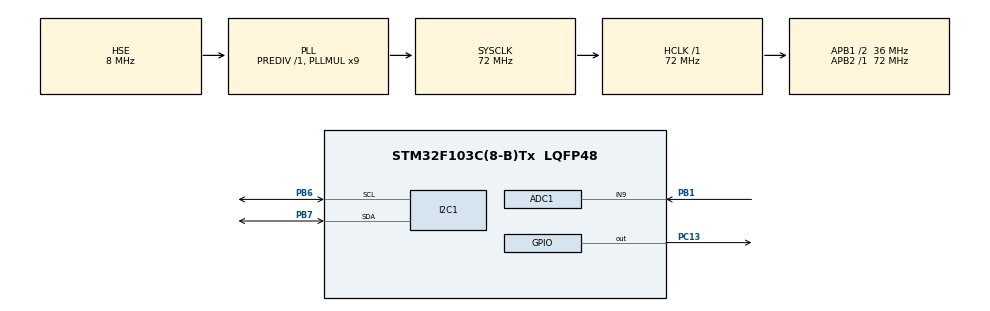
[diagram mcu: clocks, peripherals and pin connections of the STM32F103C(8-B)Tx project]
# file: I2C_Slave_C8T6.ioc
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ADC1.Channel-0\#ChannelRegularConversion=ADC_CHANNEL_9
ADC1.ContinuousConvMode=ENABLE
ADC1.NbrOfConversionFlag=1
ADC1.Rank-0\#ChannelRegularConversion=1
ADC1.SamplingTime-0\#ChannelRegularConversion=ADC_SAMPLETIME_1CYCLE_5
ADC1.master=1
I2C1.OwnAddress=0x12
Mcu.Family=STM32F1
Mcu.Name=STM32F103C(8-B)Tx
Mcu.Package=LQFP48
NVIC.I2C1_ER_IRQn=true\:0\:0\:false\:false\:true\:true\:true\:true
NVIC.I2C1_EV_IRQn=true\:0\:0\:false\:false\:true\:true\:true\:true
NVIC.PriorityGroup=NVIC_PRIORITYGROUP_4
PA13.Mode=Serial_Wire
PA13.Signal=SYS_JTMS-SWDIO
PA14.Mode=Serial_Wire
PA14.Signal=SYS_JTCK-SWCLK
PB1.Signal=ADCx_IN9
PB6.Mode=I2C
PB6.Signal=I2C1_SCL
PB7.Mode=I2C
PB7.Signal=I2C1_SDA
PC13-TAMPER-RTC.Signal=GPIO_Output
PD0-OSC_IN.Mode=HSE-External-Oscillator
PD0-OSC_IN.Signal=RCC_OSC_IN
PD1-OSC_OUT.Mode=HSE-External-Oscillator
PD1-OSC_OUT.Signal=RCC_OSC_OUT
ProjectManager.HeapSize=0x200
ProjectManager.StackSize=0x400
ProjectManager.TargetToolchain=STM32CubeIDE
RCC.ADCPresc=RCC_ADCPCLK2_DIV8
RCC.AHBFreq_Value=72000000
RCC.APB1CLKDivider=RCC_HCLK_DIV2
RCC.APB1Freq_Value=36000000
RCC.APB1TimFreq_Value=72000000
RCC.APB2Freq_Value=72000000
RCC.APB2TimFreq_Value=72000000
RCC.HCLKFreq_Value=72000000
RCC.PLLMUL=RCC_PLL_MUL9
RCC.PLLSourceVirtual=RCC_PLLSOURCE_HSE
RCC.SYSCLKFreq_VALUE=72000000
RCC.SYSCLKSource=RCC_SYSCLKSOURCE_PLLCLK
RCC.USBFreq_Value=72000000
SH.ADCx_IN9.0=ADC1_IN9,IN9
board=custom

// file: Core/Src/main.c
/* USER CODE BEGIN Header */
/**
  ******************************************************************************
  * @file           : main.c
  * @brief          : Main program body
  ******************************************************************************
  * @attention
  *
  * Copyright (c) 2025 STMicroelectronics.
  * All rights reserved.
  *
  * This software is licensed under terms that can be found in the LICENSE file
  * in the root directory of this software component.
  * If no LICENSE file comes with this software, it is provided AS-IS.
  *
  ******************************************************************************
  */
/* USER CODE END Header */
#include "main.h"

/* USER CODE BEGIN Includes */
#include "i2c_slave.h"
/* USER CODE END Includes */

ADC_HandleTypeDef hadc1;

I2C_HandleTypeDef hi2c1;

/* USER CODE BEGIN PV */
uint8_t i2c_rcv = 255;          // Data received from I2C master
uint32_t time_start = 0;        // Start time for blinking
uint8_t stat_LED = 0;           // LED state: 1 = ON, 0 = OFF
uint8_t value_pot = 0;          // Scaled potentiometer value (0-255)
volatile uint8_t i2c_rx_data = 0; // Buffer for received I2C data
volatile uint8_t i2c_tx_data = 0; // Buffer for transmitted I2C data

/* USER CODE END PV */

void SystemClock_Config(void);
static void MX_GPIO_Init(void);
static void MX_I2C1_Init(void);
static void MX_ADC1_Init(void);

/* USER CODE BEGIN 0 */
uint8_t ScaleADCToByte(uint16_t adc_value) {
      return (uint8_t)((adc_value * 255) / 4095);
  }

/* USER CODE END 0 */

int main(void)
{

  /* MCU Configuration--------------------------------------------------------*/

  /* Reset of all peripherals, Initializes the Flash interface and the Systick. */
  HAL_Init();

  /* Configure the system clock */
  SystemClock_Config();

  /* Initialize all configured peripherals */
  MX_GPIO_Init();
  MX_I2C1_Init();
  MX_ADC1_Init();
  /* USER CODE BEGIN 2 */
  if (HAL_I2C_EnableListen_IT(&hi2c1) != HAL_OK)
  {
	  Error_Handler();
  }

  HAL_ADC_Start(&hadc1);
  time_start = HAL_GetTick();

  /* USER CODE END 2 */

  /* Infinite loop */
  /* USER CODE BEGIN WHILE */
  while (1)
  {
	    // Read potentiometer via ADC
	    if (HAL_ADC_PollForConversion(&hadc1, 10) == HAL_OK) {
	        uint16_t adc_value = HAL_ADC_GetValue(&hadc1);
	        value_pot = ScaleADCToByte(adc_value);
	        i2c_tx_data = value_pot; // Update transmit buffer
	        I2C_REGISTERS[3] = i2c_tx_data;
	    }

	    // Blink LED based on received value
	    i2c_rcv = I2C_REGISTERS[4];
	    float interval = (i2c_rcv == 0) ? 100 : (1000 * ((float)i2c_rcv / 255.0));
	    if ((HAL_GetTick() - time_start) > interval) {
	        stat_LED = !stat_LED;
	        HAL_GPIO_WritePin(GPIOC, GPIO_PIN_13, stat_LED ? GPIO_PIN_RESET : GPIO_PIN_SET); // PC13 active-low
	        time_start = HAL_GetTick();
	    }

    /* USER CODE END WHILE */

  }
}

void SystemClock_Config(void)
{
  RCC_OscInitTypeDef RCC_OscInitStruct = {0};
  RCC_ClkInitTypeDef RCC_ClkInitStruct = {0};
  RCC_PeriphCLKInitTypeDef PeriphClkInit = {0};

  /** Initializes the RCC Oscillators according to the specified parameters
  * in the RCC_OscInitTypeDef structure.
  */
  RCC_OscInitStruct.OscillatorType = RCC_OSCILLATORTYPE_HSE;
  RCC_OscInitStruct.HSEState = RCC_HSE_ON;
  RCC_OscInitStruct.HSEPredivValue = RCC_HSE_PREDIV_DIV1;
  RCC_OscInitStruct.HSIState = RCC_HSI_ON;
  RCC_OscInitStruct.PLL.PLLState = RCC_PLL_ON;
  RCC_OscInitStruct.PLL.PLLSource = RCC_PLLSOURCE_HSE;
  RCC_OscInitStruct.PLL.PLLMUL = RCC_PLL_MUL9;
  if (HAL_RCC_OscConfig(&RCC_OscInitStruct) != HAL_OK)
  {
    Error_Handler();
  }

  /** Initializes the CPU, AHB and APB buses clocks
  */
  RCC_ClkInitStruct.ClockType = RCC_CLOCKTYPE_HCLK|RCC_CLOCKTYPE_SYSCLK
                              |RCC_CLOCKTYPE_PCLK1|RCC_CLOCKTYPE_PCLK2;
  RCC_ClkInitStruct.SYSCLKSource = RCC_SYSCLKSOURCE_PLLCLK;
  RCC_ClkInitStruct.AHBCLKDivider = RCC_SYSCLK_DIV1;
  RCC_ClkInitStruct.APB1CLKDivider = RCC_HCLK_DIV2;
  RCC_ClkInitStruct.APB2CLKDivider = RCC_HCLK_DIV1;

  if (HAL_RCC_ClockConfig(&RCC_ClkInitStruct, FLASH_LATENCY_2) != HAL_OK)
  {
    Error_Handler();
  }
  PeriphClkInit.PeriphClockSelection = RCC_PERIPHCLK_ADC;
  PeriphClkInit.AdcClockSelection = RCC_ADCPCLK2_DIV8;
  if (HAL_RCCEx_PeriphCLKConfig(&PeriphClkInit) != HAL_OK)
  {
    Error_Handler();
  }
}

static void MX_ADC1_Init(void)
{

  ADC_ChannelConfTypeDef sConfig = {0};

  /** Common config
  */
  hadc1.Instance = ADC1;
  hadc1.Init.ScanConvMode = ADC_SCAN_DISABLE;
  hadc1.Init.ContinuousConvMode = ENABLE;
  hadc1.Init.DiscontinuousConvMode = DISABLE;
  hadc1.Init.ExternalTrigConv = ADC_SOFTWARE_START;
  hadc1.Init.DataAlign = ADC_DATAALIGN_RIGHT;
  hadc1.Init.NbrOfConversion = 1;
  if (HAL_ADC_Init(&hadc1) != HAL_OK)
  {
    Error_Handler();
  }

  /** Configure Regular Channel
  */
  sConfig.Channel = ADC_CHANNEL_9;
  sConfig.Rank = ADC_REGULAR_RANK_1;
  sConfig.SamplingTime = ADC_SAMPLETIME_1CYCLE_5;
  if (HAL_ADC_ConfigChannel(&hadc1, &sConfig) != HAL_OK)
  {
    Error_Handler();
  }

}

static void MX_I2C1_Init(void)
{

  hi2c1.Instance = I2C1;
  hi2c1.Init.ClockSpeed = 100000;
  hi2c1.Init.DutyCycle = I2C_DUTYCYCLE_2;
  hi2c1.Init.OwnAddress1 = 36;
  hi2c1.Init.AddressingMode = I2C_ADDRESSINGMODE_7BIT;
  hi2c1.Init.DualAddressMode = I2C_DUALADDRESS_DISABLE;
  hi2c1.Init.OwnAddress2 = 0;
  hi2c1.Init.GeneralCallMode = I2C_GENERALCALL_DISABLE;
  hi2c1.Init.NoStretchMode = I2C_NOSTRETCH_DISABLE;
  if (HAL_I2C_Init(&hi2c1) != HAL_OK)
  {
    Error_Handler();
  }

}

static void MX_GPIO_Init(void)
{
  GPIO_InitTypeDef GPIO_InitStruct = {0};

  /* GPIO Ports Clock Enable */
  __HAL_RCC_GPIOC_CLK_ENABLE();
  __HAL_RCC_GPIOD_CLK_ENABLE();
  __HAL_RCC_GPIOB_CLK_ENABLE();
  __HAL_RCC_GPIOA_CLK_ENABLE();

  /*Configure GPIO pin Output Level */
  HAL_GPIO_WritePin(GPIOC, GPIO_PIN_13, GPIO_PIN_RESET);

  /*Configure GPIO pin : PC13 */
  GPIO_InitStruct.Pin = GPIO_PIN_13;
  GPIO_InitStruct.Mode = GPIO_MODE_OUTPUT_PP;
  GPIO_InitStruct.Pull = GPIO_NOPULL;
  GPIO_InitStruct.Speed = GPIO_SPEED_FREQ_LOW;
  HAL_GPIO_Init(GPIOC, &GPIO_InitStruct);

}

void Error_Handler(void)
{
  __disable_irq();
  while (1)
  {
  }
}
